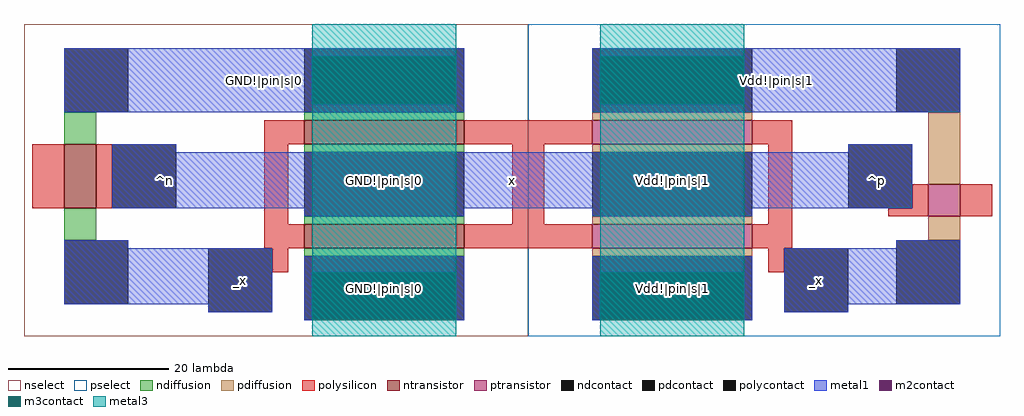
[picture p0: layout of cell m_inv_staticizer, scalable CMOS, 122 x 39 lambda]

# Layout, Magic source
magic
tech scmos
<< nselect >>
rect -63 66 0 105
<< pselect >>
rect 0 66 59 105
<< ndiffusion >>
rect -58 90 -54 94
rect -28 93 -8 94
rect -58 78 -54 82
rect -28 89 -8 90
rect -28 80 -8 81
rect -28 76 -8 77
<< pdiffusion >>
rect 8 93 28 94
rect 8 89 28 90
rect 8 80 28 81
rect 50 85 54 94
rect 50 78 54 81
rect 8 76 28 77
<< ntransistor >>
rect -28 90 -8 93
rect -58 82 -54 90
rect -28 77 -8 80
<< ptransistor >>
rect 8 90 28 93
rect 50 81 54 85
rect 8 77 28 80
<< polysilicon >>
rect -33 90 -28 93
rect -8 90 8 93
rect 28 90 33 93
rect -62 82 -58 90
rect -54 82 -52 90
rect -33 80 -30 90
rect -2 80 2 90
rect 30 80 33 90
rect 48 82 50 85
rect 45 81 50 82
rect 54 81 58 85
rect -33 77 -28 80
rect -8 77 8 80
rect 28 77 33 80
rect -32 74 -30 77
rect 30 74 32 77
<< ndcontact >>
rect -58 94 -50 102
rect -28 94 -8 102
rect -28 81 -8 89
rect -58 70 -50 78
rect -28 68 -8 76
<< pdcontact >>
rect 8 94 28 102
rect 46 94 54 102
rect 8 81 28 89
rect 8 68 28 76
rect 46 70 54 78
<< polycontact >>
rect -52 82 -44 90
rect 40 82 48 90
rect -40 69 -32 77
rect 32 69 40 77
<< metal1 >>
rect -58 101 -8 102
rect -58 95 -27 101
rect -9 95 -8 101
rect -58 94 -8 95
rect 8 101 54 102
rect 8 95 9 101
rect 27 95 54 101
rect 8 94 54 95
rect -52 89 -44 90
rect 40 89 48 90
rect -52 82 48 89
rect -28 81 -8 82
rect 8 81 28 82
rect -58 77 -50 78
rect 46 77 54 78
rect -58 70 -32 77
rect -40 69 -32 70
rect -28 74 -8 76
rect -28 68 -27 74
rect -9 68 -8 74
rect 8 74 28 76
rect 8 68 9 74
rect 27 68 28 74
rect 32 70 54 77
rect 32 69 40 70
<< m2contact >>
rect -27 95 -9 101
rect 9 95 27 101
rect -27 68 -9 74
rect 9 68 27 74
<< m3contact >>
rect -27 95 -9 101
rect 9 95 27 101
rect -27 68 -9 74
rect 9 68 27 74
<< metal3 >>
rect -27 66 -9 105
rect 9 66 27 105
<< labels >>
rlabel metal1 36 73 36 73 5 _x
rlabel metal1 -36 73 -36 73 5 _x
rlabel nselect -63 66 -28 105 7 ^n
rlabel pselect 28 66 59 105 3 ^p
rlabel metal1 -52 82 48 89 1 x
rlabel metal3 -27 66 -9 105 1 GND!|pin|s|0
rlabel metal1 -58 94 -8 102 1 GND!|pin|s|0
rlabel metal1 -28 68 -8 76 1 GND!|pin|s|0
rlabel metal3 9 66 27 105 1 Vdd!|pin|s|1
rlabel metal1 8 94 54 102 1 Vdd!|pin|s|1
rlabel metal1 8 68 28 76 1 Vdd!|pin|s|1
rlabel polysilicon -2 77 2 93 1 _x|pin|w|3|poly
<< end >>
